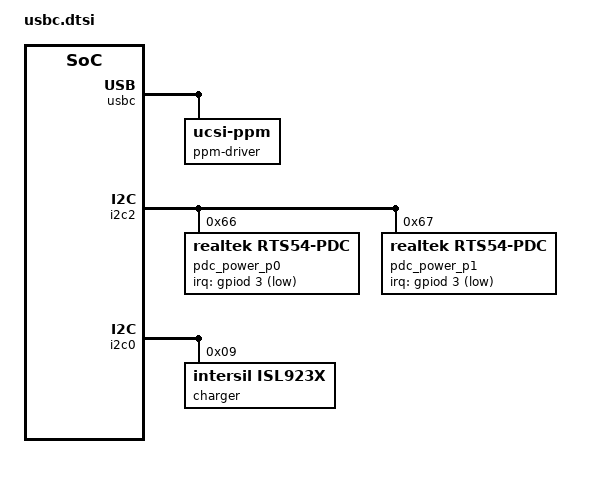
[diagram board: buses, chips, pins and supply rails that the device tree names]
/* Copyright 2026 The ChromiumOS Authors
 * Use of this source code is governed by a BSD-style license that can be
 * found in the LICENSE file.
 */

#include <usbc-policy.dtsi>

/ {
	usbc {
		#address-cells = <1>;
		#size-cells = <0>;

		usbc_port0: port0@0 {
			compatible = "named-usbc-port";
			reg = <0>;
			chg = <&charger>;
			pdc = <&pdc_power_p0>;
			policy = <&cros_policy>;
		};

		usbc_port1: port1@1 {
			compatible = "named-usbc-port";
			reg = <1>;
			pdc = <&pdc_power_p1>;
			policy = <&cros_policy>;
		};

		ppm-driver {
			compatible = "ucsi-ppm";
		};
	};
};

&i2c2 {
	pdc_power_p0: rts54-pdc@66 {
		compatible = "realtek,rts54-pdc";
		reg = <0x66>;
		irq-gpios = <&gpiod 3 GPIO_ACTIVE_LOW>;
		ccd;
	};
	pdc_power_p1: rts54-pdc@67 {
		compatible = "realtek,rts54-pdc";
		reg = <0x67>;
		irq-gpios = <&gpiod 3 GPIO_ACTIVE_LOW>;
		no-fw-update;
	};
	/* TODO(b:380121396): enable PDC I2C_S port if we need it */
};

&i2c0 {
	charger: isl9238@9 {
		compatible = "intersil,isl923x";
		status = "okay";
		reg = <0x9>;
	};
	data-hold-time = <10>;
};

